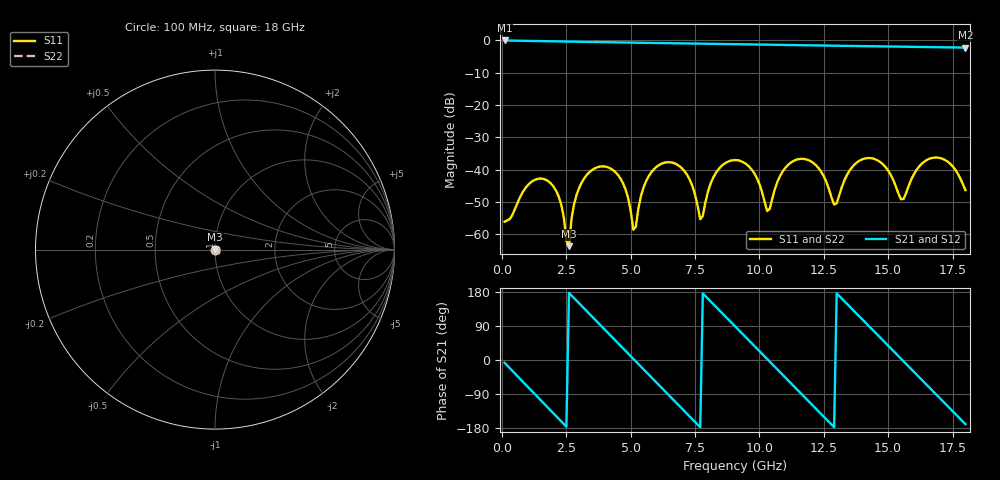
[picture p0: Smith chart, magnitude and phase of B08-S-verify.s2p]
! yapnr rf coupon B: B08 S VER28 (verify, family S)
! stackup JLC06161H-2116C, nominal parameters; reference planes 10 mm from each end; 50 ohm (renormalized from the line's Zc)
! model: 2D quasi-static RLGC (Djordjevic-Sarkar, Huray roughness, Wheeler loss); generated by python -m yapnr.rf.coupons expected
# GHz S DB R 50
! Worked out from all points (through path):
!   180 points, 100 MHz to 18 GHz, reference 50 ohm
!   highest |S21| = -0.03 dB at 100 MHz (marker M1); lowest = -2.2 dB at 18 GHz (marker M2)
!   group delay of S21, straight-line fit = 193 ps
!   lowest |S11| = -63.6 dB at 2.6 GHz (marker M3), VSWR 1.00, Z = 50 + j0.0619 ohm
!   |S11| at or under -10 dB: start of sweep to end of sweep
!   |S22| runs from -63.6 to -36.2 dB; largest |S21 - S12| = 0
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0.1  -56.05 13.7  -0.03 -7.3  -0.03 -7.3  -56.05 13.7
1.3  -43.04 19.9  -0.21 -92.0  -0.21 -92.0  -43.04 19.9
2.1  -46.50 -30.5  -0.32 -148.0  -0.32 -148.0  -46.50 -30.5
2.6  -63.63 70.0  -0.39 177.1  -0.39 177.1  -63.63 70.0
3.1  -43.87 72.5  -0.45 142.2  -0.45 142.2  -43.87 72.5
4  -39.01 13.9  -0.57 79.5  -0.57 79.5  -39.01 13.9
4.9  -48.78 -35.4  -0.68 16.9  -0.68 16.9  -48.78 -35.4
5.1  -58.55 -6.4  -0.71 3.0  -0.71 3.0  -58.55 -6.4
6.1  -38.54 43.9  -0.83 -66.5  -0.83 -66.5  -38.54 43.9
7.1  -40.56 -17.1  -0.96 -135.9  -0.96 -135.9  -40.56 -17.1
7.7  -55.32 4.2  -1.03 -177.5  -1.03 -177.5  -55.32 4.2
8.3  -41.07 64.0  -1.10 140.9  -1.10 140.9  -41.07 64.0
9.1  -37.02 17.8  -1.20 85.5  -1.20 85.5  -37.02 17.8
10.5  -48.83 62.1  -1.36 -11.4  -1.36 -11.4  -48.83 62.1
11.3  -37.38 40.2  -1.46 -66.7  -1.46 -66.7  -37.38 40.2
12.1  -37.95 -4.8  -1.56 -122.0  -1.56 -122.0  -37.95 -4.8
12.9  -50.76 9.1  -1.65 -177.3  -1.65 -177.3  -50.76 9.1
13.9  -37.13 39.1  -1.77 113.7  -1.77 113.7  -37.13 39.1
15.1  -41.59 -19.1  -1.91 30.8  -1.91 30.8  -41.59 -19.1
15.6  -49.01 32.5  -1.97 -3.7  -1.97 -3.7  -49.01 32.5
16.7  -36.37 27.9  -2.09 -79.5  -2.09 -79.5  -36.37 27.9
18  -46.31 -6.6  -2.24 -169.2  -2.24 -169.2  -46.31 -6.6
